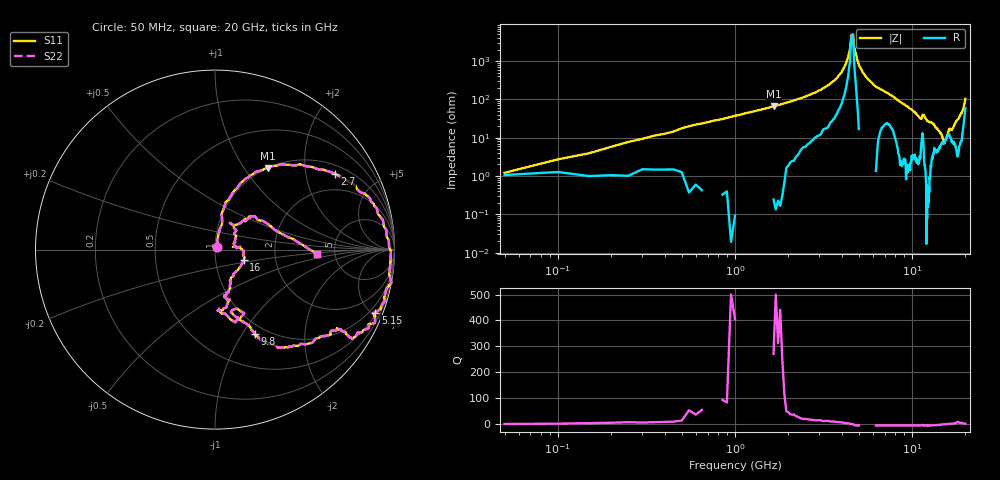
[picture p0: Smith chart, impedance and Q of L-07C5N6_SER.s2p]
#	mhz	s	ma	r	50
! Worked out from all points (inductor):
!   400 points, 50 MHz to 20 GHz, reference 50 ohm
!   read as one part in series: L = 4.53 nH near 150 MHz
!   highest Q = 248 at 1.65 GHz (marker M1), where L = 6.37 nH
!   self-resonance near 4.55 GHz
!   S11 on the Smith chart (normalised r, x): 50 MHz: 1.02, +0.03; 2.7 GHz: 1.31, +2.93; 5.15 GHz: 0.58, -5.20; 9.8 GHz: 0.88, -1.14; 16 GHz: 1.37, -0.16; 20 GHz: 3.63, -0.27
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50  0.02 56.3  0.99 0.3  0.99 0.3  0.02 56.3
100  0.04 66.1  0.99 -0.6  0.99 -0.6  0.04 66.1
250  0.09 77.5  0.99 -3.6  0.99 -3.6  0.09 77.5
550  0.2 79.7  0.97 -10.9  0.97 -10.9  0.2 79.7
1650  0.54 57.1  0.82 -33.8  0.82 -33.8  0.54 57.1
2700  0.79 32.2  0.58 -54.1  0.58 -54.1  0.79 32.2
3400  0.91 17.2  0.38 -67.5  0.38 -67.5  0.91 17.2
4250  0.98 -1.6  0.11 -77.8  0.11 -77.8  0.98 -1.6
4450  0.98 -6.4  0.05 -69.5  0.05 -69.5  0.98 -6.4
4550  0.98 -8.1  0.02 -40.7  0.02 -40.7  0.98 -8.1
4650  1 -10.6  0.02 39.1  0.02 39.1  1 -10.6
4750  0.98 -12.8  0.05 63.0  0.05 63.0  0.98 -12.8
5150  0.96 -21.5  0.15 70.0  0.15 70.0  0.96 -21.5
6700  0.86 -32.5  0.47 51.9  0.47 51.9  0.86 -32.5
9800  0.52 -64.8  0.82 24.2  0.82 24.2  0.52 -64.8
10050  0.49 -65.6  0.84 22.4  0.84 22.4  0.49 -65.6
12250  0.34 -86.7  0.9 9.5  0.9 9.5  0.34 -86.7
13350  0.29 -73.5  0.92 4.5  0.92 4.5  0.29 -73.5
16000  0.17 -19.6  0.95 -10.6  0.95 -10.6  0.17 -19.6
16700  0.11 8.6  0.95 -13.6  0.95 -13.6  0.11 8.6
19050  0.26 44.3  0.87 -32.9  0.87 -32.9  0.26 44.3
20000  0.57 -2.5  0.61 -48.6  0.61 -48.6  0.57 -2.5
